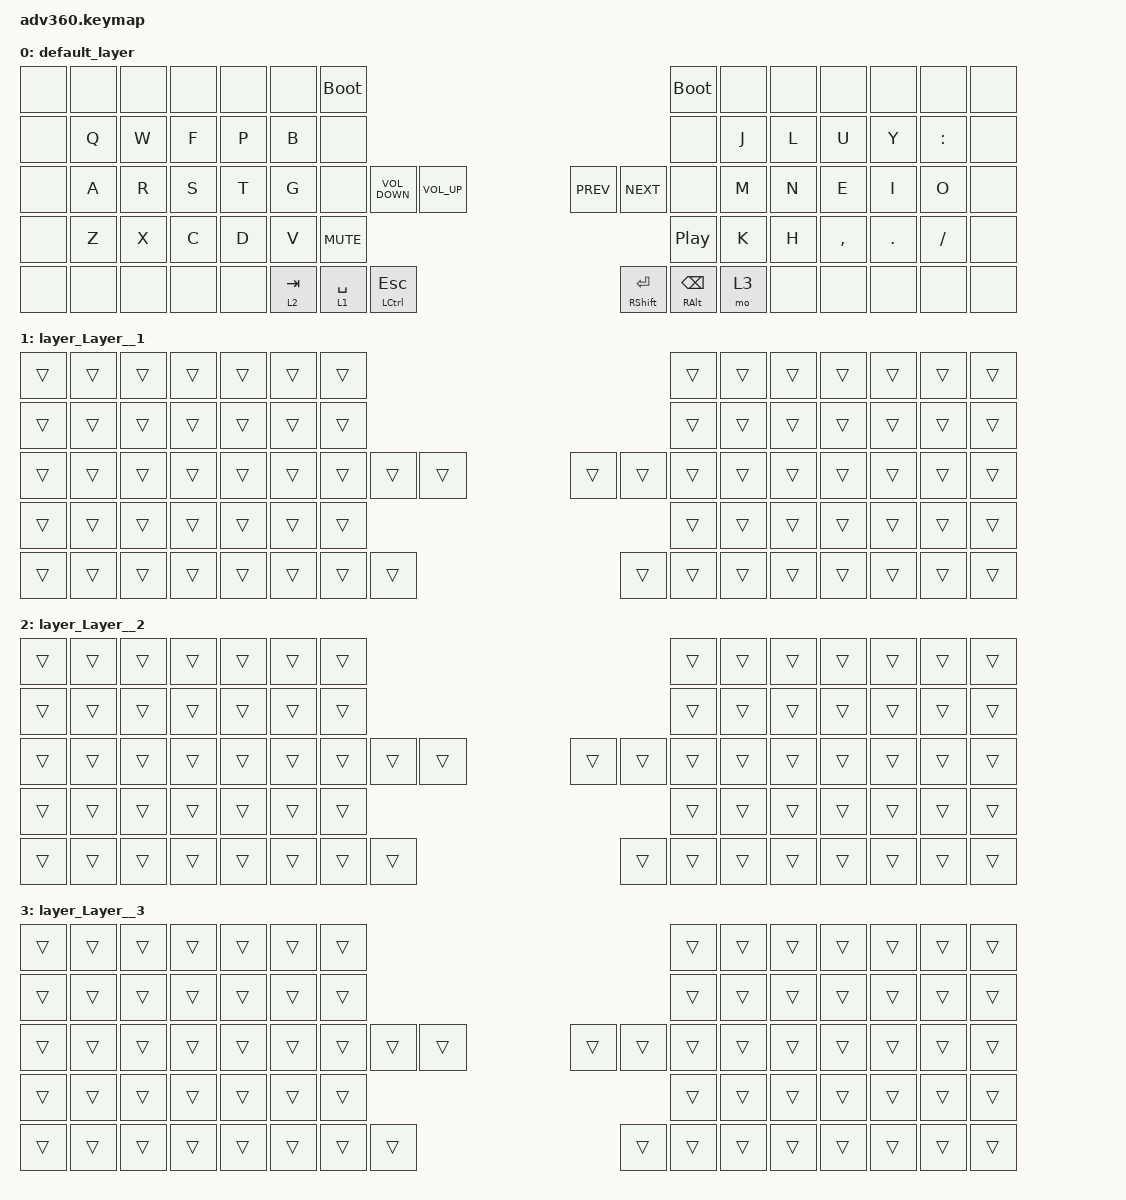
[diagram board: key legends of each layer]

/*
 * Copyright (c) 2020 The ZMK Contributors
 *
 * SPDX-License-Identifier: MIT
 */


/* THIS FILE WAS GENERATED!
 *
 * This file was generated automatically. You may or may not want to
 * edit it directly.
 */

#include <behaviors.dtsi>
#include <dt-bindings/zmk/keys.h>

/ {
  behaviors {
    #include "macros.dtsi"
    #include "version.dtsi"

    hm: homerow_mods {
        compatible = "zmk,behavior-hold-tap";
        label = "HOMEROW_MODS";
        #binding-cells = <2>;
        tapping-term-ms = <200>;
        quick_tap_ms = <175>;
        flavor = "tap-preferred";
        bindings = <&kp>, <&kp>;
    };
  };

    keymap {
        compatible = "zmk,keymap";


        default_layer {
            bindings = <
  &none   &none   &none   &none   &none   &none            &bootloader                                                                                                    &bootloader   &none   &none      &none    &none      &none   &none
  &none   &kp Q   &kp W   &kp F   &kp P   &kp B                  &none                                                                                                          &none   &kp J   &kp L      &kp U    &kp Y  &kp COLON   &none
  &none   &kp A   &kp R   &kp S   &kp T   &kp G                  &none  &kp C_VOLUME_DOWN   &kp C_VOL_UP                             &kp C_PREV               &kp C_NEXT        &none   &kp M   &kp N      &kp E    &kp I      &kp O   &none
  &none   &kp Z   &kp X   &kp C   &kp D   &kp V                                               &kp C_MUTE                       &kp C_PLAY_PAUSE                                         &kp K   &kp H  &kp COMMA  &kp DOT   &kp FSLH   &none
  &none   &none   &none   &none   &none                      &lt 2 TAB        &lt 1 SPACE  &mt LCTRL ESC                  &mt RIGHT_SHIFT ENTER  &mt RIGHT_ALT BACKSPACE        &mo 3           &none      &none    &none      &none   &none
            >;
        };

        layer_Layer__1 {
            bindings = <
 &trans  &trans  &trans  &trans  &trans  &trans            &trans                                                  &trans  &trans  &trans  &trans  &trans  &trans  &trans
 &trans  &trans  &trans  &trans  &trans  &trans            &trans                                                  &trans  &trans  &trans  &trans  &trans  &trans  &trans
 &trans  &trans  &trans  &trans  &trans  &trans            &trans  &trans  &trans                  &trans  &trans  &trans  &trans  &trans  &trans  &trans  &trans  &trans
 &trans  &trans  &trans  &trans  &trans  &trans                            &trans                  &trans                  &trans  &trans  &trans  &trans  &trans  &trans
 &trans  &trans  &trans  &trans  &trans                    &trans  &trans  &trans                  &trans  &trans  &trans          &trans  &trans  &trans  &trans  &trans
            >;
        };

        layer_Layer__2 {
            bindings = <
 &trans  &trans  &trans  &trans  &trans  &trans            &trans                                                  &trans  &trans  &trans  &trans  &trans  &trans  &trans
 &trans  &trans  &trans  &trans  &trans  &trans            &trans                                                  &trans  &trans  &trans  &trans  &trans  &trans  &trans
 &trans  &trans  &trans  &trans  &trans  &trans            &trans  &trans  &trans                  &trans  &trans  &trans  &trans  &trans  &trans  &trans  &trans  &trans
 &trans  &trans  &trans  &trans  &trans  &trans                            &trans                  &trans                  &trans  &trans  &trans  &trans  &trans  &trans
 &trans  &trans  &trans  &trans  &trans                    &trans  &trans  &trans                  &trans  &trans  &trans          &trans  &trans  &trans  &trans  &trans
            >;
        };

        layer_Layer__3 {
            bindings = <
 &trans  &trans  &trans  &trans  &trans  &trans            &trans                                                  &trans  &trans  &trans  &trans  &trans  &trans  &trans
 &trans  &trans  &trans  &trans  &trans  &trans            &trans                                                  &trans  &trans  &trans  &trans  &trans  &trans  &trans
 &trans  &trans  &trans  &trans  &trans  &trans            &trans  &trans  &trans                  &trans  &trans  &trans  &trans  &trans  &trans  &trans  &trans  &trans
 &trans  &trans  &trans  &trans  &trans  &trans                            &trans                  &trans                  &trans  &trans  &trans  &trans  &trans  &trans
 &trans  &trans  &trans  &trans  &trans                    &trans  &trans  &trans                  &trans  &trans  &trans          &trans  &trans  &trans  &trans  &trans
            >;
        };

    };
};
